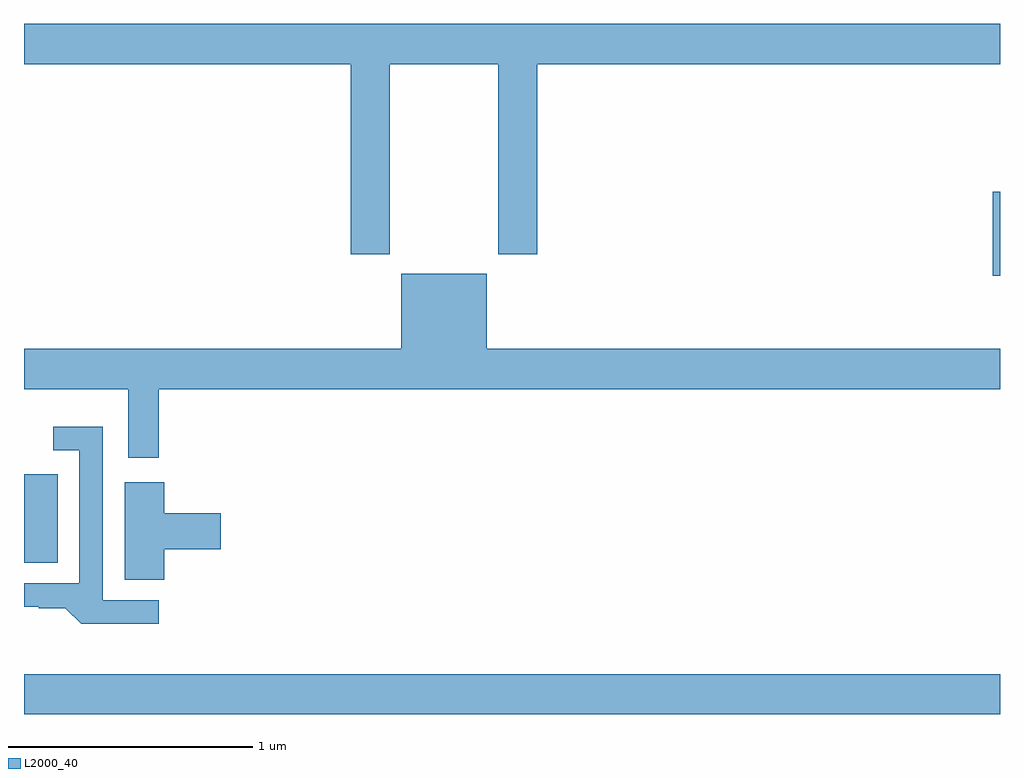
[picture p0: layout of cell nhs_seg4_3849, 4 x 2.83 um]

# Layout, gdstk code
import gdstk
lib = gdstk.Library(unit=1e-6, precision=1e-09)
def R(c, l, rs):  # rectangles x0, y0, x1, y1
    for r in rs: c.add(gdstk.rectangle(r[:2], r[2:], *l))
def P(c, l, *ps):  # polygons
    for p in ps: c.add(gdstk.Polygon(p, *l))
L2000_40 = (2000, 40)

nhs_seg4_3849 = lib.new_cell('nhs_seg4_3849')
R(nhs_seg4_3849, L2000_40, [(313,815.468,317,815.632), (313,816.088,313.138,816.451), (316.97,817.265,317,817.609)])
P(nhs_seg4_3849, L2000_40, [(314.499,818.132),(314.944,818.132),(314.944,817.353),(315.104,817.353),(315.104,818.132),(317,818.132),(317,818.296),(313,818.296),(313,818.132),(314.339,818.132),(314.339,817.353),(314.499,817.353)],
  [(313.553,816.8),(317,816.8),(317,816.964),(314.896,816.964),(314.896,817.273),(314.546,817.273),(314.546,816.964),(313,816.964),(313,816.8),(313.427,816.8),(313.427,816.519),(313.553,816.519)],
  [(313.552,815.934),(313.323,815.934),(313.323,816.646),(313.119,816.646),(313.119,816.549),(313.227,816.549),(313.227,816.003),(313,816.003),(313,815.907),(313.061,815.907),(313.061,815.902),(313.169,815.902),(313.235,815.837),(313.552,815.837)],
  [(313.574,816.143),(313.807,816.143),(313.807,816.29),(313.574,816.29),(313.574,816.418),(313.412,816.418),(313.412,816.019),(313.574,816.019)])

lib.write_gds('nhs_seg4_3849.gds')
